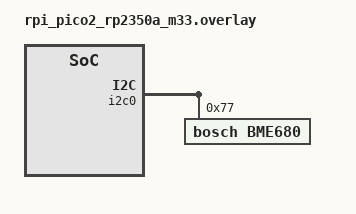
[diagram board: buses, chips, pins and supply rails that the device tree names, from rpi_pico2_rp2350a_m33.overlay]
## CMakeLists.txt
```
cmake_minimum_required(VERSION 3.20.0)

# Select our board 
set(BOARD rpi_pico2/rp2350a/m33)

# Find/Select cmake package 'Zephyr' 
find_package(Zephyr)

# This is only used by IntelliSense inside VS Code 
set(CMAKE_EXPORT_COMPILE_COMMANDS ON)

# For using west flash with picoprobe
set(OPENOCD "openocd")
set(OPENOCD_DEFAULT_PATH "/usr/local/share/openocd/scripts")

# Define project name
project(lab3_part2)

# Add include directory 
target_include_directories(app PRIVATE src/inc)

# Add source files
FILE(GLOB SRC_FILES "src/*.c")
target_sources(app PRIVATE ${SRC_FILES})
```

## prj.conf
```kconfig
CONFIG_GPIO=y
CONFIG_I2C=y

CONFIG_SENSOR=y
CONFIG_BME680=y

CONFIG_DEBUG=y

CONFIG_CONSOLE=y
CONFIG_PRINTK=y
CONFIG_SERIAL=y

CONFIG_UART_LINE_CTRL=y
CONFIG_UART_CONSOLE=y
CONFIG_CDC_ACM_SERIAL_INITIALIZE_AT_BOOT=y
```

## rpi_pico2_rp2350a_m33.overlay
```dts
&i2c0 {
    status = "okay";

    bme680: bme680@77 {
        compatible = "bosch,bme680";
        reg = <0x77>;
        status = "okay";
        };
   };
```

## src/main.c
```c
#include <zephyr/kernel.h>
#include <stdio.h>
#include <zephyr/device.h>
#include <zephyr/devicetree.h>
#include <zephyr/drivers/gpio.h>
#include <zephyr/drivers/sensor.h>

//west build -p always -b rpi_pico2/rp2350a/m33 -S cdc-acm-console

int main(void)
{
   const struct device *bme = DEVICE_DT_GET_ANY(bosch_bme680);

   if (bme == NULL)
   {
        printf("No BME680 device found.\n");
        fflush(stdout);
        return -1;
   }

   if (!device_is_ready(bme))
   {
      printf("BME680 device is not ready.\n");
      fflush(stdout);
      return -1;
   }

   printf("BME680 found and ready.\n");
   fflush(stdout);

   while (1)
   {
      struct sensor_value temp, humidity;
      int ret;

      ret = sensor_sample_fetch(bme);
      if (ret < 0)
      {
         printf("Failed to fetch sample: %d\n", ret);
         fflush(stdout);
         k_sleep(K_SECONDS(3));
         continue;
      }

        ret = sensor_channel_get(bme, SENSOR_CHAN_AMBIENT_TEMP, &temp);
        if (ret < 0)
        {
            printf("Failed to get temperature channel: %d\n", ret);
            fflush(stdout);
            k_sleep(K_SECONDS(3));
            continue;
        }
        
        ret = sensor_channel_get(bme, SENSOR_CHAN_HUMIDITY, &humidity);
        if (ret < 0)
        {
            printf("Failed to get humidity channel: %d\n", ret);
            fflush(stdout);
            k_sleep(K_SECONDS(3));
            continue;
        }

        printf("Temperature: %d.%06dC; Humidity: %d.%06d%% \n", (int)temp.val1, (int)temp.val2, (int)humidity.val1, (int)humidity.val2);
        fflush(stdout);

        k_sleep(K_SECONDS(3));
    }

    return 0;
}
```
